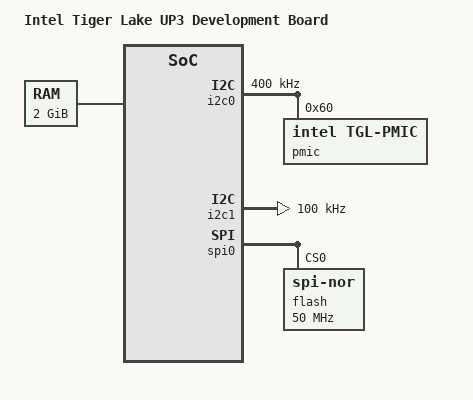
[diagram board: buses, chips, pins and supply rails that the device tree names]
// SPDX-License-Identifier: GPL-2.0
/*
 * Sample DTS for PoAgent: Tiger Lake development board (TGL-UP3)
 * poagent/board/dts/sample_tgl.dts
 *
 * This is a minimal illustrative DTS for testing PoAgent DTS parsing.
 * It demonstrates the po-agent-properties node schema expected by
 * poagent/board/dts_parser.py.
 */

/dts-v1/;

/ {
	model = "Intel Tiger Lake UP3 Development Board";
	compatible = "intel,tgl-up3", "intel,tigerlake";

	#address-cells = <2>;
	#size-cells = <2>;

	/*
	 * PoAgent board descriptor node.
	 * All po-agent-* properties are parsed by parse_po_agent_properties().
	 */
	po-agent-properties {
		po-agent-board-name = "tgl-up3-dev";
		po-agent-platform = "x86_64";
		po-agent-silicon = "tigerlake";

		/*
		 * Power rails: name, expected voltage (mV), tolerance (%).
		 * [O-01] Lower bound 100mV for modern SoCs.
		 */
		po-agent-rails = "VCC_CORE:1000:5",
		                 "VCC_SA:1050:5",
		                 "VCC_IO:1800:5",
		                 "VCC_DDR:1200:3",
		                 "V3P3_S0:3300:5",
		                 "V5P0_S0:5000:5",
		                 "VCCGT:800:5";

		/*
		 * PMBus rail assignments: name:bus:addr.
		 * Bus is I2C bus number, addr is 7-bit hex.
		 */
		po-agent-pmbus = "VCC_CORE:0:0x60",
		                 "VCC_SA:0:0x61";

		/*
		 * Clock domains: name:required.
		 */
		po-agent-clocks = "pll_core:1",
		                  "pll_ring:1",
		                  "pll_sa:1",
		                  "pll_gt:1",
		                  "xtal_19p2:1",
		                  "ref_100:0";

		/*
		 * Clock dependency map for cascade resolver [CG-04].
		 * Format: parent:child1,child2,...
		 */
		po-agent-clock-deps = "xtal_19p2:pll_core,pll_sa,pll_ring",
		                      "pll_core:compute_memory",
		                      "pll_sa:highspeed_serial,display_graphics",
		                      "pll_gt:display_graphics,sensors_misc";

		/*
		 * Subsystem PCIe devices.
		 */
		po-agent-pcie = "nvme0:0000:00:1d.0:NVMe SSD",
		                "wifi0:0000:00:14.3:Intel Wi-Fi 6 AX201",
		                "tb0:0000:00:07.0:Thunderbolt 4";

		/*
		 * Thermal zone thresholds (°C).
		 */
		po-agent-thermal = "x86_pkg_temp:95",
		                   "INT3400 Thermal:80",
		                   "pch_skylake:85";

		/*
		 * Kernel version constraint for DTS/sysfs cross-check [SG-07].
		 */
		po-agent-kernel-min = "5.15";

		/*
		 * Gate 5 sysfs paths to verify subsystem presence.
		 */
		po-agent-sysfs-check = "/sys/bus/nvme/devices/nvme0",
		                       "/sys/class/net/eth0",
		                       "/sys/class/drm/card0";

		/*
		 * Silicon stepping table [FINAL-S6].
		 * Format: stepping_id:name (decoded from CPUID leaf 1h EAX[3:0]).
		 */
		po-agent-stepping = "1:TGL-B0",
		                    "2:TGL-B1";
	};

	/*
	 * CPU cluster
	 */
	cpus {
		#address-cells = <1>;
		#size-cells = <0>;

		cpu0: cpu@0 {
			device_type = "cpu";
			compatible = "intel,tigerlake";
			reg = <0>;
		};

		cpu1: cpu@1 {
			device_type = "cpu";
			compatible = "intel,tigerlake";
			reg = <1>;
		};

		cpu2: cpu@2 {
			device_type = "cpu";
			compatible = "intel,tigerlake";
			reg = <2>;
		};

		cpu3: cpu@3 {
			device_type = "cpu";
			compatible = "intel,tigerlake";
			reg = <3>;
		};
	};

	/*
	 * Memory
	 */
	memory@0 {
		device_type = "memory";
		reg = <0x0 0x00000000 0x0 0x40000000>,   /* 1 GB at 0x00000000 */
		      <0x0 0x40000000 0x0 0x40000000>;   /* 1 GB at 0x40000000 */
	};

	/*
	 * I2C buses
	 */
	i2c0: i2c@fffC8000 {
		compatible = "intel,lpss-i2c";
		reg = <0x0 0xfffC8000 0x0 0x1000>;
		#address-cells = <1>;
		#size-cells = <0>;
		clock-frequency = <400000>;  /* 400kHz */

		/* PMBus power controller */
		pmic@60 {
			compatible = "intel,tgl-pmic";
			reg = <0x60>;
		};
	};

	i2c1: i2c@fffC9000 {
		compatible = "intel,lpss-i2c";
		reg = <0x0 0xfffC9000 0x0 0x1000>;
		#address-cells = <1>;
		#size-cells = <0>;
		clock-frequency = <100000>;  /* 100kHz */
	};

	/*
	 * SPI
	 */
	spi0: spi@fffCA000 {
		compatible = "intel,lpss-spi";
		reg = <0x0 0xfffCA000 0x0 0x1000>;
		#address-cells = <1>;
		#size-cells = <0>;

		flash@0 {
			compatible = "jedec,spi-nor";
			reg = <0>;
			spi-max-frequency = <50000000>;
		};
	};

	/*
	 * Watchdog
	 */
	watchdog@1600 {
		compatible = "intel,tco-wdt";
		reg = <0x0 0x1600 0x0 0x40>;
		timeout-sec = <60>;
	};
};
